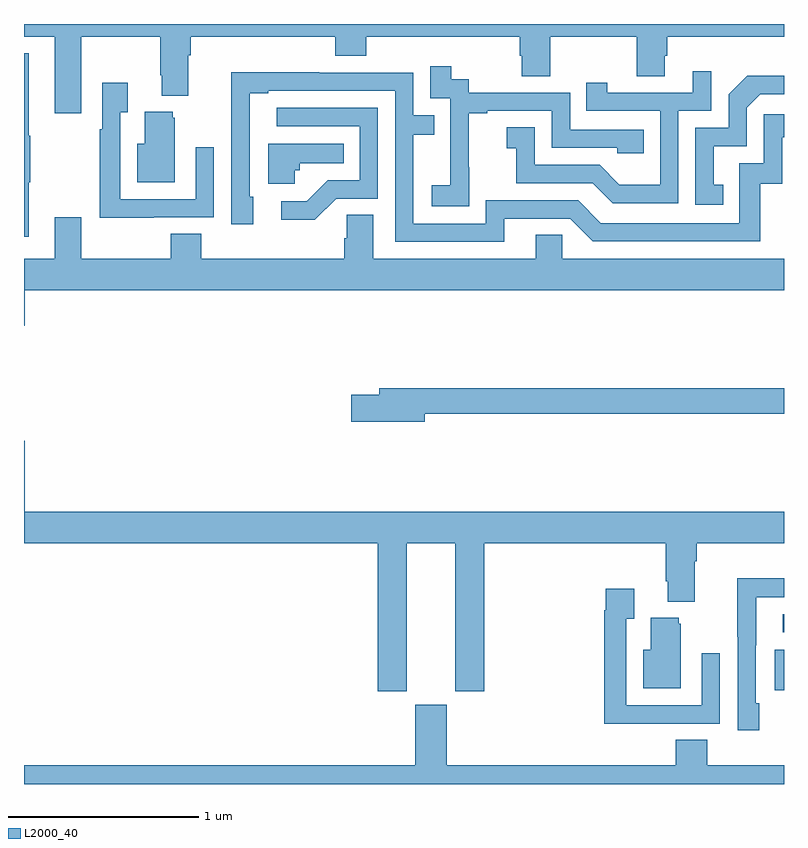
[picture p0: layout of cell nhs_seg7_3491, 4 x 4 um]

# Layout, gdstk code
import gdstk
lib = gdstk.Library(unit=1e-6, precision=1e-09)
def R(c, l, rs):  # rectangles x0, y0, x1, y1
    for r in rs: c.add(gdstk.rectangle(r[:2], r[2:], *l))
def P(c, l, *ps):  # polygons
    for p in ps: c.add(gdstk.Polygon(p, *l))
L2000_40 = (2000, 40)

nhs_seg7_3491 = lib.new_cell('nhs_seg7_3491')
R(nhs_seg7_3491, L2000_40, [(336.95,1014.494,337,1014.706), (336.993,1014.798,337,1014.894)])
P(nhs_seg7_3491, L2000_40, [(333,1017.932),(333.161,1017.932),(333.161,1017.531),(333.301,1017.531),(333.301,1017.932),(333.718,1017.932),(333.718,1017.73),(333.725,1017.73),(333.725,1017.623),(333.865,1017.623),(333.865,1017.836),(333.878,1017.836),(333.878,1017.932),(334.637,1017.932),(334.637,1017.833),(334.802,1017.833),(334.802,1017.932),(335.609,1017.932),(335.609,1017.834),(335.621,1017.834),(335.621,1017.724),(335.769,1017.724),(335.769,1017.932),(336.226,1017.932),(336.226,1017.724),(336.373,1017.724),(336.373,1017.834),(336.386,1017.834),(336.386,1017.932),(337,1017.932),(337,1018),(333,1018)],
  [(333.025,1017.168),(333.033,1017.168),(333.033,1017.412),(333.025,1017.412),(333.025,1017.847),(333,1017.847),(333,1016.88),(333.025,1016.88)],
  [(335.343,1017.247),(335.342,1017.247),(335.342,1017.531),(335.437,1017.531),(335.437,1017.543),(335.778,1017.543),(335.778,1017.348),(336.123,1017.348),(336.123,1017.321),(336.263,1017.321),(336.263,1017.444),(335.874,1017.444),(335.874,1017.639),(335.34,1017.639),(335.34,1017.708),(335.248,1017.708),(335.248,1017.778),(335.139,1017.778),(335.139,1017.609),(335.244,1017.609),(335.244,1017.38),(335.243,1017.38),(335.243,1017.151),(335.145,1017.151),(335.145,1017.041),(335.343,1017.041)],
  [(336.444,1017.543),(336.618,1017.543),(336.618,1017.751),(336.521,1017.751),(336.521,1017.639),(336.07,1017.639),(336.07,1017.691),(335.959,1017.691),(335.959,1017.543),(336.348,1017.543),(336.348,1017.154),(336.134,1017.154),(336.03,1017.258),(335.688,1017.258),(335.688,1017.457),(335.541,1017.457),(335.541,1017.347),(335.59,1017.347),(335.59,1017.162),(335.993,1017.162),(336.098,1017.057),(336.444,1017.057)],
  [(335.527,1016.976),(335.874,1016.976),(335.994,1016.856),(336.874,1016.856),(336.874,1017.159),(336.992,1017.159),(336.992,1017.405),(337,1017.405),(337,1017.526),(336.894,1017.526),(336.894,1017.267),(336.765,1017.267),(336.765,1016.952),(336.036,1016.952),(335.916,1017.072),(335.43,1017.072),(335.43,1016.949),(335.049,1016.949),(335.049,1017.418),(335.159,1017.418),(335.159,1017.519),(335.049,1017.519),(335.049,1017.744),(334.553,1017.744),(334.553,1017.746),(334.09,1017.746),(334.09,1017.439),(334.092,1017.439),(334.092,1016.946),(334.207,1016.946),(334.207,1017.09),(334.188,1017.09),(334.188,1017.636),(334.285,1017.636),(334.285,1017.648),(334.953,1017.648),(334.953,1016.853),(335.527,1016.853)],
  [(336.68,1017.153),(336.631,1017.153),(336.631,1017.357),(336.804,1017.357),(336.804,1017.558),(336.876,1017.63),(337,1017.63),(337,1017.728),(336.806,1017.728),(336.708,1017.63),(336.708,1017.453),(336.534,1017.453),(336.534,1017.048),(336.68,1017.048)],
  [(333.683,1016.982),(333.999,1016.982),(333.999,1017.352),(333.903,1017.352),(333.903,1017.078),(333.507,1017.078),(333.507,1017.535),(333.547,1017.535),(333.547,1017.691),(333.411,1017.691),(333.411,1017.446),(333.399,1017.446),(333.399,1016.981),(333.683,1016.981)],
  [(334.644,1017.081),(334.863,1017.081),(334.863,1017.558),(334.329,1017.558),(334.329,1017.462),(334.767,1017.462),(334.767,1017.177),(334.598,1017.177),(334.487,1017.066),(334.353,1017.066),(334.353,1016.969),(334.531,1016.969)],
  [(333.793,1017.507),(333.782,1017.507),(333.782,1017.538),(333.635,1017.538),(333.635,1017.37),(333.596,1017.37),(333.596,1017.167),(333.793,1017.167)],
  [(334.425,1017.231),(334.452,1017.231),(334.452,1017.266),(334.682,1017.266),(334.682,1017.37),(334.286,1017.37),(334.286,1017.158),(334.425,1017.158)],
  [(333.004,1016.6),(337,1016.6),(337,1016.764),(335.832,1016.764),(335.832,1016.891),(335.693,1016.891),(335.693,1016.764),(334.837,1016.764),(334.837,1016.996),(334.698,1016.996),(334.698,1016.873),(334.685,1016.873),(334.685,1016.764),(333.932,1016.764),(333.932,1016.897),(333.772,1016.897),(333.772,1016.764),(333.301,1016.764),(333.301,1016.983),(333.161,1016.983),(333.161,1016.764),(333,1016.764),(333,1016.412),(333.004,1016.412)],
  [(335.11,1015.948),(337,1015.948),(337,1016.084),(334.871,1016.084),(334.871,1016.048),(334.722,1016.048),(334.722,1015.906),(335.11,1015.906)],
  [(335.014,1015.268),(335.27,1015.268),(335.27,1014.489),(335.423,1014.489),(335.423,1015.268),(336.377,1015.268),(336.377,1015.066),(336.389,1015.066),(336.389,1014.959),(336.529,1014.959),(336.529,1015.172),(336.542,1015.172),(336.542,1015.268),(337,1015.268),(337,1015.432),(333.004,1015.432),(333.004,1015.807),(333,1015.807),(333,1015.268),(334.862,1015.268),(334.862,1014.489),(335.014,1014.489)],
  [(336.871,1014.426),(336.852,1014.426),(336.852,1014.73),(336.853,1014.73),(336.853,1014.984),(337,1014.984),(337,1015.082),(336.754,1015.082),(336.754,1014.775),(336.756,1014.775),(336.756,1014.282),(336.871,1014.282)],
  [(336.347,1014.318),(336.663,1014.318),(336.663,1014.688),(336.567,1014.688),(336.567,1014.414),(336.171,1014.414),(336.171,1014.871),(336.211,1014.871),(336.211,1015.027),(336.063,1015.027),(336.063,1014.914),(336.055,1014.914),(336.055,1014.317),(336.347,1014.317)],
  [(336.457,1014.843),(336.446,1014.843),(336.446,1014.874),(336.299,1014.874),(336.299,1014.706),(336.26,1014.706),(336.26,1014.503),(336.457,1014.503)],
  [(333,1014),(337,1014),(337,1014.1),(336.596,1014.1),(336.596,1014.233),(336.431,1014.233),(336.431,1014.1),(335.224,1014.1),(335.224,1014.417),(335.06,1014.417),(335.06,1014.1),(333,1014.1)])

lib.write_gds('nhs_seg7_3491.gds')
